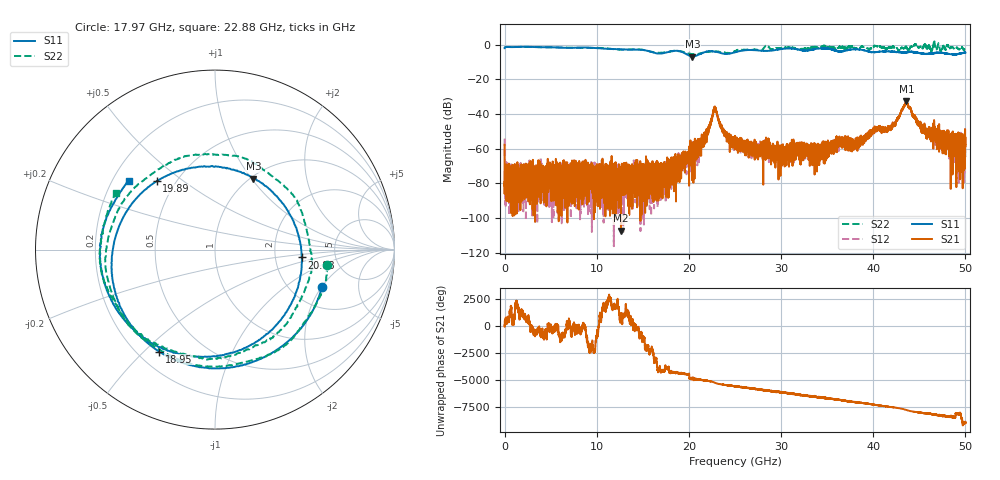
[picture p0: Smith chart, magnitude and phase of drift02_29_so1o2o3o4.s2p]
!Created with skrf (http://scikit-rf.org).
# Hz S RI R 50.0
!freq ReS11 ImS11 ReS21 ImS21 ReS12 ImS12 ReS22 ImS22
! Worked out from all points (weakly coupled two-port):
!   10001 points, 300 kHz to 50 GHz, reference 50 ohm
!   highest |S21| = -32.71 dB at 43.61 GHz (marker M1); lowest = -107.4 dB at 12.63 GHz (marker M2)
!   lowest |S11| = -6.9 dB at 20.38 GHz (marker M3), VSWR 2.64, Z = 51.5 + j51.1 ohm
!   |S11| at or under -10 dB: nowhere
!   |S22| runs from -5.7 to 2.3 dB; largest |S21 - S12| = 0.0048
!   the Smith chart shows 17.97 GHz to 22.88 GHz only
!   S11 on the Smith chart (normalised r, x): 17.97 GHz: 2.89, -2.01; 18.95 GHz: 0.28, -0.56; 19.89 GHz: 0.39, +0.40; 20.88 GHz: 2.84, -0.32; 22.88 GHz: 0.27, +0.33
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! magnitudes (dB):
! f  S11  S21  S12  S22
! 300 kHz  -2.1  -57.8  -54.2  -2.1
! 260.3 MHz  -1.4  -70.2  -82.3  -1.4
! 8.335 GHz  -1.7  -69.1  -77.0  -1.9
! 12.63 GHz  -2.8  -107.4  -74.1  -2.9
! 16.67 GHz  -5.2  -69.8  -79.7  -4.7
! 17.97 GHz  -4.0  -67.8  -72.1  -4.0
! 18.95 GHz  -3.8  -63.9  -73.2  -3.9
! 19.89 GHz  -6.0  -61.8  -64.4  -5.1
! 20.38 GHz  -6.9  -65.6  -61.9  -5.5
! 20.88 GHz  -6.3  -58.0  -57.4  -5.6
! 21.73 GHz  -4.4  -53.3  -53.1  -4.5
! 22.88 GHz  -4.2  -36.4  -36.5  -3.9
! 23.77 GHz  -5.3  -49.9  -50.2  -4.7
! 25 GHz  -4.5  -57.7  -55.6  -3.9
! 29.23 GHz  -3.3  -63.4  -61.7  -2.7
! 33.34 GHz  -3.0  -68.7  -60.5  -1.6
! 38.23 GHz  -2.8  -56.3  -55.7  -2.4
! 41.67 GHz  -4.0  -47.6  -48.5  -1.8
! 43.61 GHz  -4.3  -32.7  -33.2  -1.3
! 45.62 GHz  -5.4  -48.2  -48.7  0.2
! 49.67 GHz  -5.0  -54.7  -67.0  -1.9
! 50 GHz  -4.6  -54.0  -59.1  -2.7
